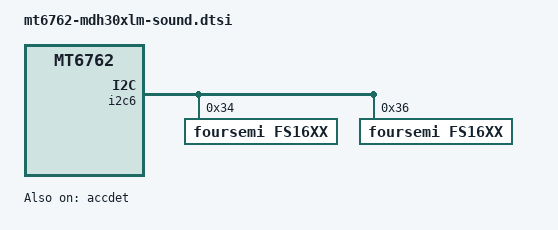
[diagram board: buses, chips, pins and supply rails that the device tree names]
/*
 * LG Electronics MT6765 HDK sound device tree source
 *
 * Copyright (c) 2018 LG Electronics Co., Ltd.
 *              http://www.lge.com
 *
 */

/* accdet start */
&accdet {
	accdet-mic-vol = <6>;
	headset-mode-setting = <0x500 0x500 1 0x1f0 0x800 0x210 0x20 0x44>;
	accdet-plugout-debounce = <1>;
	accdet-mic-mode = <1>;
	headset-eint-level-pol = <8>;
	headset-three-key-threshold = <0 80 220 400>;
	headset-three-key-threshold-CDD = <0 121 192 600>;
	headset-four-key-threshold = <0 58 110 192 400>;
	status = "okay";
};
/* accdet end */

/* AUDIO GPIO standardization */
&audgpio {
	pinctrl-names = "aud_clk_mosi_off",
			"aud_clk_mosi_on",
			"aud_clk_miso_off",
			"aud_clk_miso_on",
			"aud_dat_mosi_off",
			"aud_dat_mosi_on",
			"aud_dat_miso_off",
			"aud_dat_miso_on",
			"aud_smartpa_off",
			"aud_smartpa_on",
			"receiver-extamp-pulllow",
			"receiver-extamp-pullhigh";
	pinctrl-0 = <&aud_clk_mosi_off>;
	pinctrl-1 = <&aud_clk_mosi_on>;
	pinctrl-2 = <&aud_clk_miso_off>;
	pinctrl-3 = <&aud_clk_miso_on>;
	pinctrl-4 = <&aud_dat_mosi_off>;
	pinctrl-5 = <&aud_dat_mosi_on>;
	pinctrl-6 = <&aud_dat_miso_off>;
	pinctrl-7 = <&aud_dat_miso_on>;
	pinctrl-8 = <&aud_smartpa_off>;
	pinctrl-9 = <&aud_smartpa_on>;
	pinctrl-10 = <&receiver_extamp_pulllow>;
	pinctrl-11 = <&receiver_extamp_pullhigh>;
	status = "okay";
};

&pio {
	aud_clk_mosi_off: aud_clk_mosi_off {
		pins_cmd0_dat {
			pinmux = <PINMUX_GPIO136__FUNC_GPIO136>;
		};
	};

	aud_clk_mosi_on: aud_clk_mosi_on {
		pins_cmd0_dat {
			pinmux = <PINMUX_GPIO136__FUNC_AUD_CLK_MOSI>;
		};
	};

	aud_clk_miso_off: aud_clk_miso_off {
		pins_cmd0_dat {
			pinmux = <PINMUX_GPIO140__FUNC_GPIO140>;
		};
	};

	aud_clk_miso_on: aud_clk_miso_on {
		pins_cmd0_dat {
			pinmux = <PINMUX_GPIO140__FUNC_AUD_CLK_MISO>;
		};
	};

	aud_dat_mosi_off: aud_dat_mosi_off {
		pins_cmd1_dat {
			pinmux = <PINMUX_GPIO138__FUNC_GPIO138>;
			input-enable;
			slew-rate = <0>;
			bias-disable;
		};
		pins_cmd2_dat {
			pinmux = <PINMUX_GPIO139__FUNC_GPIO139>;
			input-enable;
			slew-rate = <0>;
			bias-disable;
		};
	};

	aud_dat_mosi_on: aud_dat_mosi_on {
		pins_cmd1_dat {
			pinmux = <PINMUX_GPIO138__FUNC_AUD_DAT_MOSI0>;
		};
		pins_cmd2_dat {
			pinmux = <PINMUX_GPIO139__FUNC_AUD_DAT_MOSI1>;
		};
	};

	aud_dat_miso_off: aud_dat_miso_off {
		pins_cmd1_dat {
			pinmux = <PINMUX_GPIO142__FUNC_GPIO142>;
			input-enable;
			slew-rate = <0>;
			bias-disable;
		};
		pins_cmd2_dat {
			pinmux = <PINMUX_GPIO143__FUNC_GPIO143>;
			input-enable;
			slew-rate = <0>;
			bias-disable;
		};
	};

	aud_dat_miso_on: aud_dat_miso_on {
		pins_cmd1_dat {
			pinmux = <PINMUX_GPIO142__FUNC_AUD_DAT_MISO0>;
		};
		pins_cmd2_dat {
			pinmux = <PINMUX_GPIO143__FUNC_AUD_DAT_MISO1>;
		};
	};

	aud_smartpa_off: aud_smartpa_off {
		pins_cmd0_dat {
			pinmux = <PINMUX_GPIO17__FUNC_GPIO17>;
		};
		pins_cmd1_dat {
			pinmux = <PINMUX_GPIO18__FUNC_GPIO18>;
		};
		pins_cmd2_dat {
			pinmux = <PINMUX_GPIO19__FUNC_GPIO19>;
		};
		pins_cmd3_dat {
			pinmux = <PINMUX_GPIO20__FUNC_GPIO20>;
		};
	};

	aud_smartpa_on: aud_smartpa_on {
		pins_cmd0_dat {
			pinmux = <PINMUX_GPIO17__FUNC_I2S0_DI>;
		};
		pins_cmd1_dat {
			pinmux = <PINMUX_GPIO18__FUNC_I2S3_BCK>;
		};
		pins_cmd2_dat {
			pinmux = <PINMUX_GPIO19__FUNC_I2S3_LRCK>;
		};
		pins_cmd3_dat {
			pinmux = <PINMUX_GPIO20__FUNC_I2S3_DO>;
		};
	};

	receiver_extamp_pulllow: receiver_extamp_pulllow {
		pins_cmd0_dat {
			pinmux = <PINMUX_GPIO167__FUNC_GPIO167>;
			slew-rate = <1>;
			output-low;
		};
		pins_cmd1_dat {
			pinmux = <PINMUX_GPIO89__FUNC_GPIO89>;
			slew-rate = <1>;
			output-low;
		};
	};

	receiver_extamp_pullhigh: receiver_extamp_pullhigh {
		pins_cmd0_dat {
			pinmux = <PINMUX_GPIO167__FUNC_GPIO167>;
			slew-rate = <1>;
			output-high;
		};
		pins_cmd1_dat {
			pinmux = <PINMUX_GPIO89__FUNC_GPIO89>;
			slew-rate = <1>;
			output-high;
		};
	};
};

&i2c6 {
    fs16xx@34 {
        compatible = "foursemi,fs16xx";
        reg = <0x34>;
        fs,fs-dev = "left"; // bottom amp
        status = "okay";
    };
    fs16xx@36 {
        compatible = "foursemi,fs16xx";
        reg = <0x36>;
        fs,fs-dev = "right"; // top amp
        status = "okay";
    };
};
/* AUDIO end */
